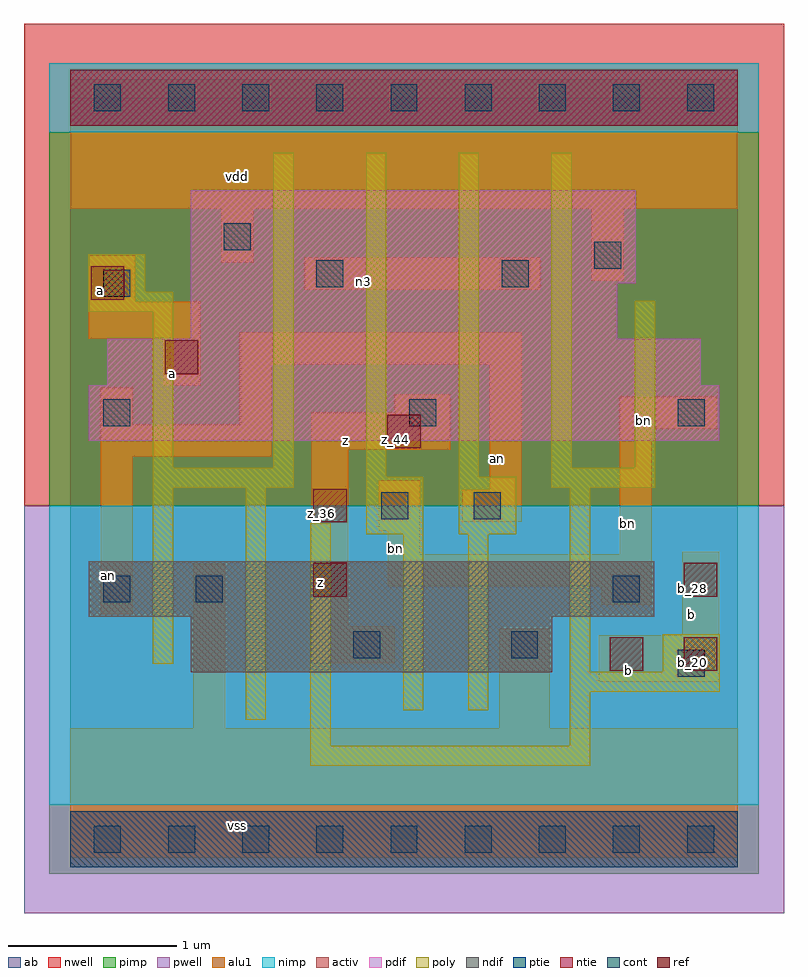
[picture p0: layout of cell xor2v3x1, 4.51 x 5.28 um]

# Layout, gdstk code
import gdstk
lib = gdstk.Library(unit=1e-6, precision=2.5e-09)
def R(c, l, rs):  # rectangles x0, y0, x1, y1
    for r in rs: c.add(gdstk.rectangle(r[:2], r[2:], *l))
def A(c, l, x, y, w, h, nx, ny, dx, dy):  # array of equal rectangles
    R(c, l, [(x+i*dx, y+j*dy, x+i*dx+w, y+j*dy+h) for i in range(nx) for j in range(ny)])
ndif = (3, 0)
pdif = (4, 0)
ntie = (5, 0)
ptie = (6, 0)
ref = (24, 0)
cont = (25, 0)
pwell = (41, 0)
nwell = (42, 0)
activ = (43, 0)
pimp = (44, 0)
nimp = (45, 0)
poly = (46, 0)
alu1 = (49, 0)
ab = (63, 0)

xor2v3x1 = lib.new_cell('xor2v3x1')
R(xor2v3x1, ndif, [(0.715,0.99,2.86,1.32), (0.11,1.32,3.465,1.65)])
R(xor2v3x1, pdif, [(0.11,2.365,3.85,2.695), (0.22,2.695,3.74,2.97), (0.715,2.97,3.245,3.3), (0.715,3.3,3.355,3.85)])
R(xor2v3x1, ntie, [(0,4.235,3.96,4.565)])
R(xor2v3x1, ptie, [(0,-0.165,3.96,0.165)])
R(xor2v3x1, ref, [(3.2,1,3.4,1.2), (3.64,1,3.84,1.2), (1.44,1.44,1.64,1.64), (3.64,1.44,3.84,1.64), (1.44,1.88,1.64,2.08), (1.88,2.32,2.08,2.52), (0.56,2.76,0.76,2.96), (0.12,3.2,0.32,3.4)])
A(xor2v3x1, cont, 0.14, -0.08, 0.16, 0.16, 9, 2, 0.44, 4.4)
R(xor2v3x1, cont, [(3.605,0.965,3.765,1.125), (1.68,1.075,1.84,1.235), (2.615,1.075,2.775,1.235), (0.195,1.405,0.355,1.565), (0.745,1.405,0.905,1.565), (3.22,1.405,3.38,1.565), (1.845,1.9,2.005,2.06), (2.395,1.9,2.555,2.06), (0.195,2.45,0.355,2.61), (2.01,2.45,2.17,2.61), (3.605,2.45,3.765,2.61), (0.195,3.22,0.355,3.38), (1.46,3.275,1.62,3.435), (2.56,3.275,2.72,3.435), (3.11,3.385,3.27,3.545), (0.91,3.495,1.07,3.655)])
R(xor2v3x1, pwell, [(-0.275,-0.44,4.235,1.98)])
R(xor2v3x1, nwell, [(-0.275,1.98,4.235,4.84)])
R(xor2v3x1, activ, [(0,-0.165,3.96,0.165), (0.715,0.99,2.86,1.32), (0.11,1.32,3.465,1.65), (0.11,2.365,3.85,2.695), (0.22,2.695,3.74,2.97), (0.715,2.97,3.245,3.3), (0.715,3.3,3.355,3.85), (0,4.235,3.96,4.565)])
R(xor2v3x1, pimp, [(-0.125,-0.205,4.085,0.205), (-0.125,1.98,4.085,4.195)])
R(xor2v3x1, nimp, [(-0.125,0.205,4.085,1.98), (-0.125,4.195,4.085,4.605)])
R(xor2v3x1, poly, [(1.425,0.435,3.085,0.555), (1.425,0.555,1.545,1.875), (2.965,0.555,3.085,0.875), (1.04,0.71,1.16,2.085), (1.975,0.765,2.095,1.81), (2.36,0.765,2.48,1.81), (2.965,0.875,3.855,0.995), (2.965,0.995,3.085,2.085), (3.515,0.995,3.855,1.215), (0.49,1.04,0.61,2.085), (1.755,1.81,2.095,2.15), (2.305,1.81,2.645,2.15), (0.49,2.085,1.325,2.205), (2.855,2.085,3.47,2.205), (1.755,2.15,1.875,4.075), (2.305,2.15,2.425,4.075), (0.49,2.205,0.61,3.13), (1.205,2.205,1.325,4.075), (2.855,2.205,2.975,4.075), (3.35,2.205,3.47,3.195), (0.105,3.13,0.61,3.25), (0.105,3.25,0.445,3.47)])
R(xor2v3x1, alu1, [(0,-0.11,3.96,0.66), (0.73,0.66,0.92,1.635), (2.545,0.66,2.845,1.25), (3.135,0.935,3.85,1.21), (1.43,1.045,1.925,1.265), (3.63,1.21,3.85,1.705), (1.43,1.265,1.65,2.31), (0.18,1.335,0.37,2.27), (3.15,1.39,3.45,1.5), (1.885,1.5,3.45,1.69), (1.885,1.69,2.075,1.83), (3.26,1.69,3.45,2.435), (1.83,1.83,2.075,2.13), (2.325,1.885,2.68,2.075), (2.49,2.075,2.68,2.82), (0.18,2.27,1.195,2.46), (1.43,2.31,2.255,2.53), (3.26,2.435,3.835,2.625), (0.18,2.46,0.37,2.68), (1.005,2.46,1.195,2.82), (1.925,2.53,2.255,2.64), (0.55,2.695,0.77,2.97), (1.005,2.82,2.68,3.01), (0.11,2.97,0.77,3.19), (0.11,3.19,0.385,3.465), (1.39,3.26,2.79,3.45), (3.095,3.315,3.285,3.74), (0.895,3.425,1.085,3.74), (0,3.74,3.96,4.51)])
R(xor2v3x1, ab, [(0,0,3.96,4.4)])
xor2v3x1.add(gdstk.Label('vss', (0.99,0.0825), layer=49, texttype=0))
xor2v3x1.add(gdstk.Label('b', (3.3125,1.0025), layer=49, texttype=0))
xor2v3x1.add(gdstk.Label('b', (3.685,1.3325), layer=49, texttype=0))
xor2v3x1.add(gdstk.Label('bn', (3.3075,1.875), layer=49, texttype=0))
xor2v3x1.add(gdstk.Label('bn', (1.9325,1.725), layer=49, texttype=0))
xor2v3x1.add(gdstk.Label('bn', (3.4025,2.4825), layer=49, texttype=0))
xor2v3x1.add(gdstk.Label('an', (2.5375,2.26), layer=49, texttype=0))
xor2v3x1.add(gdstk.Label('z', (1.485,1.525), layer=49, texttype=0))
xor2v3x1.add(gdstk.Label('an', (0.2275,1.5675), layer=49, texttype=0))
xor2v3x1.add(gdstk.Label('z', (1.635,2.365), layer=49, texttype=0))
xor2v3x1.add(gdstk.Label('a', (0.605,2.7625), layer=49, texttype=0))
xor2v3x1.add(gdstk.Label('n3', (1.74,3.3075), layer=49, texttype=0))
xor2v3x1.add(gdstk.Label('a', (0.1775,3.2575), layer=49, texttype=0))
xor2v3x1.add(gdstk.Label('vdd', (0.99,3.9325), layer=49, texttype=0))
xor2v3x1.add(gdstk.Label('a_52', (0.61,2.81), layer=24, texttype=0))
xor2v3x1.add(gdstk.Label('a_60', (0.17,3.25), layer=24, texttype=0))
xor2v3x1.add(gdstk.Label('z_36', (1.49,1.93), layer=24, texttype=0))
xor2v3x1.add(gdstk.Label('z_28', (1.49,1.49), layer=24, texttype=0))
xor2v3x1.add(gdstk.Label('z_44', (1.93,2.37), layer=24, texttype=0))
xor2v3x1.add(gdstk.Label('b_28', (3.69,1.49), layer=24, texttype=0))
xor2v3x1.add(gdstk.Label('b_20', (3.69,1.05), layer=24, texttype=0))
xor2v3x1.add(gdstk.Label('b_20', (3.25,1.05), layer=24, texttype=0))

lib.write_gds('xor2v3x1.gds')
